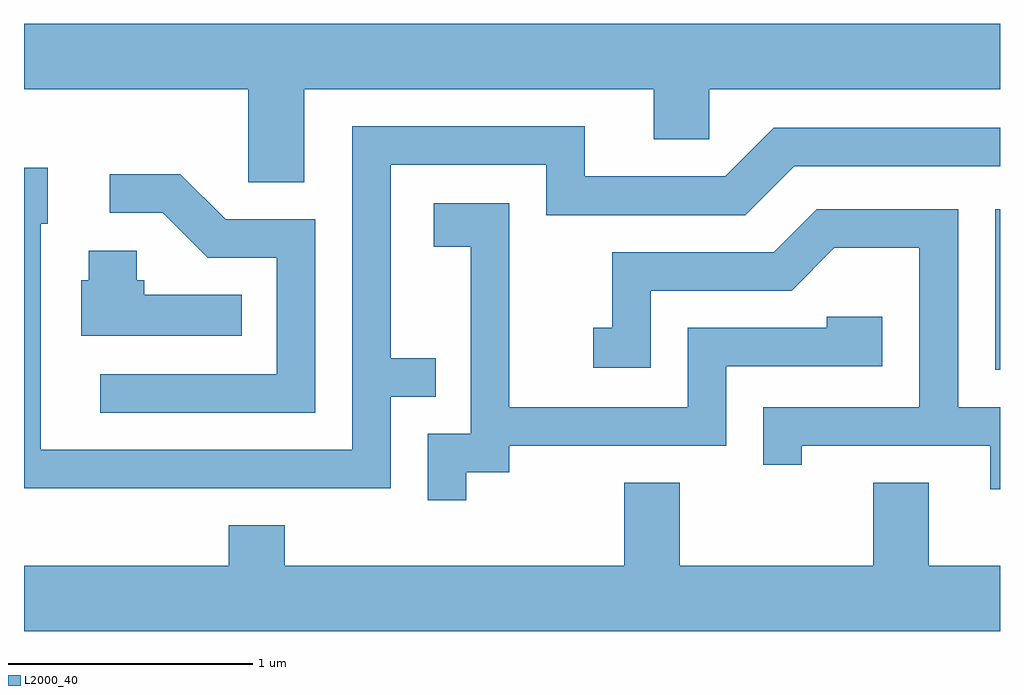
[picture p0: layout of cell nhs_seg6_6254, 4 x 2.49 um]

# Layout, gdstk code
import gdstk
lib = gdstk.Library(unit=1e-6, precision=1e-09)
def R(c, l, rs):  # rectangles x0, y0, x1, y1
    for r in rs: c.add(gdstk.rectangle(r[:2], r[2:], *l))
def P(c, l, *ps):  # polygons
    for p in ps: c.add(gdstk.Polygon(p, *l))
L2000_40 = (2000, 40)

nhs_seg6_6254 = lib.new_cell('nhs_seg6_6254')
R(nhs_seg6_6254, L2000_40, [(379.591,1542.226,379.611,1542.884)])
P(nhs_seg6_6254, L2000_40, [(376.759,1543.376),(378.191,1543.376),(378.191,1543.171),(378.419,1543.171),(378.419,1543.376),(379.611,1543.376),(379.611,1543.644),(375.611,1543.644),(375.611,1543.376),(376.531,1543.376),(376.531,1542.996),(376.759,1542.996)],
  [(377.114,1542.116),(377.298,1542.116),(377.298,1542.274),(377.114,1542.274),(377.114,1543.066),(377.751,1543.066),(377.751,1542.861),(378.567,1542.861),(378.767,1543.061),(379.611,1543.061),(379.611,1543.219),(378.684,1543.219),(378.484,1543.019),(377.909,1543.019),(377.909,1543.224),(376.956,1543.224),(376.956,1541.899),(375.679,1541.899),(375.679,1542.826),(375.709,1542.826),(375.709,1543.054),(375.611,1543.054),(375.611,1541.741),(377.114,1541.741)],
  [(376.804,1542.844),(376.437,1542.844),(376.252,1543.029),(375.963,1543.029),(375.963,1542.871),(376.179,1542.871),(376.364,1542.686),(376.646,1542.686),(376.646,1542.209),(375.923,1542.209),(375.923,1542.051),(376.804,1542.051)],
  [(377.424,1541.806),(377.599,1541.806),(377.599,1541.916),(378.489,1541.916),(378.489,1542.241),(379.129,1542.241),(379.129,1542.444),(378.901,1542.444),(378.901,1542.399),(378.331,1542.399),(378.331,1542.074),(377.599,1542.074),(377.599,1542.909),(377.291,1542.909),(377.291,1542.731),(377.441,1542.731),(377.441,1541.964),(377.266,1541.964),(377.266,1541.693),(377.424,1541.693)],
  [(379.611,1542.074),(379.439,1542.074),(379.439,1542.884),(378.859,1542.884),(378.684,1542.709),(378.021,1542.709),(378.021,1542.399),(377.943,1542.399),(377.943,1542.236),(378.179,1542.236),(378.179,1542.551),(378.757,1542.551),(378.932,1542.726),(379.281,1542.726),(379.281,1542.074),(378.641,1542.074),(378.641,1541.838),(378.799,1541.838),(378.799,1541.916),(379.571,1541.916),(379.571,1541.738),(379.611,1541.738)],
  [(376.503,1542.534),(376.104,1542.534),(376.104,1542.594),(376.074,1542.594),(376.074,1542.714),(375.876,1542.714),(375.876,1542.594),(375.846,1542.594),(375.846,1542.366),(376.503,1542.366)],
  [(379.611,1541.424),(379.319,1541.424),(379.319,1541.764),(379.091,1541.764),(379.091,1541.424),(378.299,1541.424),(378.299,1541.764),(378.071,1541.764),(378.071,1541.424),(376.679,1541.424),(376.679,1541.589),(376.451,1541.589),(376.451,1541.424),(375.611,1541.424),(375.611,1541.156),(379.611,1541.156)])

lib.write_gds('nhs_seg6_6254.gds')
